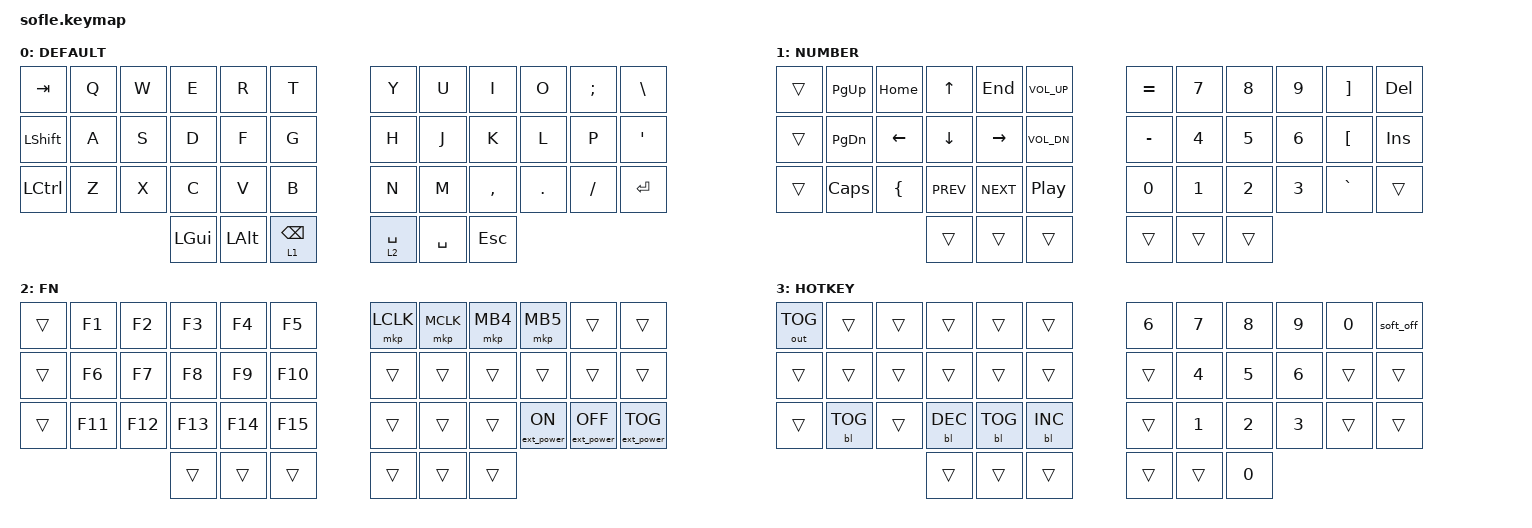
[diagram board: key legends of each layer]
/*
 * Copyright (c) 2023 The ZMK Contributors
 *
 * SPDX-License-Identifier: MIT
 */

#include <behaviors.dtsi>
#include <dt-bindings/zmk/keys.h>
#include <dt-bindings/zmk/bt.h>
#include <dt-bindings/zmk/outputs.h>
#include <dt-bindings/zmk/backlight.h>
#include <dt-bindings/zmk/ext_power.h>
#define ZMK_POINTING_DEFAULT_SCRL_VAL 100
#include <dt-bindings/zmk/pointing.h>

// Helpful macros borrowed from AndrewMSHowe
#define ___ &trans

// Layer numbers for use by the keymap & macros

#define DEFAULT 0
#define NUMBER  1
#define FN  2
#define HOTKEY  3



/ {

    keymap {
        compatible = "zmk,keymap";

        windows_default_layer {
            label = "DEFAULT";
            bindings = <
// ╭───────────────┬───────────────┬───────────────┬───────────────┬───────────────┬───────────────╮                                 ╭───────────────┬───────────────┬───────────────┬───────────────┬───────────────┬───────────────╮
       &kp TAB        &kp Q            &kp W           &kp E           &kp R           &kp T     /*|                                 |*/  &kp Y          &kp U           &kp I           &kp O           &kp SEMI       &kp BSLH
       &kp LSHIFT     &kp A            &kp S           &kp D           &kp F           &kp G     /*├─────────────╮     ╭─────────────┤*/  &kp H          &kp J           &kp K           &kp L           &kp P          &kp SQT
       &kp LCTRL      &kp Z            &kp X           &kp C           &kp V           &kp B                                              &kp N          &kp M           &kp COMMA       &kp DOT         &kp FSLH       &kp ENTER
/* ╰───────────────┴───────────────┤*/                                 &kp LGUI        &kp LALT       &lt 1 BSPC         &lt 2 SPACE      &kp SPACE      &kp ESC                                   //├───────────────┴───────────────╯
//                                 ╰───────────────┴───────────────┴───────────────┴───────────────┴─────────────╯     ╰─────────────┴───────────────┴───────────────┴───────────────┴───────────────╯
            >;
        };

 

        windows_symbols_layer {
            label = "NUMBER";
            bindings = <
// ╭───────────────┬───────────────┬───────────────┬───────────────┬───────────────┬───────────────╮                                 ╭───────────────┬───────────────┬───────────────┬───────────────┬───────────────┬───────────────╮
       &trans          &kp PG_UP       &kp HOME        &kp UP          &kp END      &kp C_VOL_UP /*|                                 |*/  &kp EQUAL        &kp N7          &kp N8          &kp N9          &kp RBKT        &kp DEL
       &trans          &kp PG_DN       &kp LEFT        &kp DOWN        &kp RIGHT    &kp C_VOL_DN /*├─────────────╮     ╭─────────────┤*/  &kp MINUS        &kp N4          &kp N5          &kp N6          &kp LBKT        &kp INS
       &trans          &kp CAPS        &kp LEFT_BRACE  &kp C_PREV      &kp C_NEXT        &kp C_PP                                          &kp N0          &kp N1          &kp N2          &kp N3          &kp GRAVE       &trans
/* ╰───────────────┴───────────────┤*/                                  &trans           &trans         &trans              &trans         &trans          &trans                                  //├───────────────┴───────────────╯
//                                 ╰───────────────┴───────────────┴───────────────┴───────────────┴─────────────╯     ╰─────────────┴───────────────┴───────────────┴───────────────┴───────────────╯
            >;
        };

        numpad_layer {
            label = "FN";
            
            bindings = <
// ╭───────────────┬───────────────┬───────────────┬───────────────┬───────────────┬───────────────╮                                 ╭───────────────┬───────────────┬───────────────┬───────────────┬───────────────┬───────────────╮
       ___             &kp F1          &kp F2          &kp F3          &kp F4          &kp F5    /*|                                 |*/   &mkp LCLK     &mkp MCLK         &mkp MB4       &mkp MB5        &trans          &trans 
       ___             &kp F6          &kp F7          &kp F8          &kp F9          &kp F10   /*├─────────────╮     ╭─────────────┤*/   &trans         &trans          &trans          &trans          &trans          &trans
       ___             &kp F11         &kp F12         &kp F13         &kp F14         &kp F15                                             &trans         &trans          &trans     &ext_power EP_ON &ext_power EP_OFF &ext_power EP_TOG
/* ╰───────────────┴───────────────┤*/                                  &trans           &trans         &trans              &trans         &trans         &trans                                   //├───────────────┴───────────────╯
//                                 ╰───────────────┴───────────────┴───────────────┴───────────────┴─────────────╯     ╰─────────────┴───────────────┴───────────────┴───────────────┴───────────────╯
            >;
      };



      settings_layer {
            label = "HOTKEY";
            bindings = <
// ╭───────────────┬───────────────┬───────────────┬───────────────┬───────────────┬────────────────╮                                 ╭───────────────┬───────────────┬───────────────┬───────────────┬───────────────┬───────────────╮
      &out OUT_TOG     ___     ___      ___     ___      ___ /*|                                 |*/   &kp N6         &kp N7          &kp N8          &kp N9          &kp N0          &soft_off
      ___              ___             ___             ___             ___             ___        /*├─────────────╮     ╭─────────────┤*/   ___            &kp N4          &kp N5          &kp N6          ___             ___
      ___              &bl BL_TOG      ___   &bl BL_DEC      &bl BL_TOG      &bl BL_INC                                           ___            &kp N1          &kp N2          &kp N3          ___             ___
/* ╰───────────────┴───────────────┤*/                                    ___              ___         ___                  ___             ___            &kp N0                //├───────────────┴───────────────╯
//                                 ╰───────────────┴───────────────┴───────────────┴────────────────┴─────────────╯     ╰─────────────┴───────────────┴───────────────┴───────────────┴───────────────╯   
            >;
        };

    

    };

};
